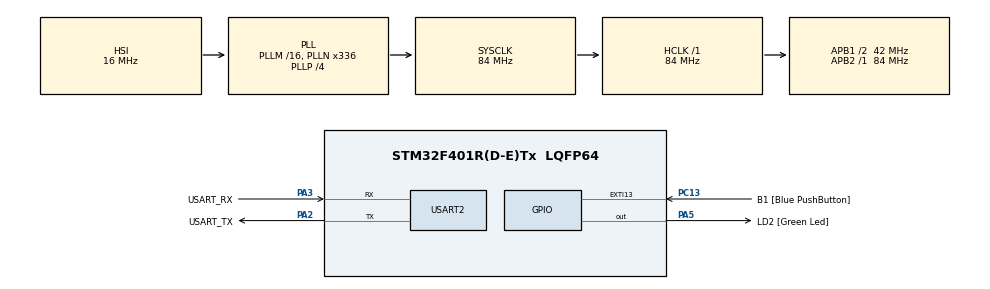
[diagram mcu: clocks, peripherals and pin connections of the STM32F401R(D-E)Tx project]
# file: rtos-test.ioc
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Dma.Request0=USART2_TX
Dma.USART2_TX.0.Direction=DMA_MEMORY_TO_PERIPH
Dma.USART2_TX.0.FIFOMode=DMA_FIFOMODE_DISABLE
Dma.USART2_TX.0.Instance=DMA1_Stream6
Dma.USART2_TX.0.MemDataAlignment=DMA_MDATAALIGN_BYTE
Dma.USART2_TX.0.MemInc=DMA_MINC_ENABLE
Dma.USART2_TX.0.Mode=DMA_NORMAL
Dma.USART2_TX.0.PeriphDataAlignment=DMA_PDATAALIGN_BYTE
Dma.USART2_TX.0.PeriphInc=DMA_PINC_DISABLE
Dma.USART2_TX.0.Priority=DMA_PRIORITY_LOW
FREERTOS.Events01=console,Dynamic,NULL
FREERTOS.Mutexes01=atomicWriteMutex,Dynamic,NULL
FREERTOS.Queues01=consoleWriteQueue,24,struct WriteRequest,0,Dynamic,NULL,NULL
FREERTOS.Tasks01=defaultTask,24,128,StartDefaultTask,Default,NULL,Dynamic,NULL,NULL
Mcu.Family=STM32F4
Mcu.Name=STM32F401R(D-E)Tx
Mcu.Package=LQFP64
NVIC.DMA1_Stream6_IRQn=true\:5\:0\:false\:false\:true\:true\:false\:true\:true
NVIC.PriorityGroup=NVIC_PRIORITYGROUP_4
NVIC.TIM1_UP_TIM10_IRQn=true\:15\:0\:false\:false\:true\:false\:false\:true\:true
NVIC.TimeBase=TIM1_UP_TIM10_IRQn
NVIC.TimeBaseIP=TIM1
NVIC.USART2_IRQn=true\:5\:0\:true\:false\:true\:true\:true\:true\:true
PA13.GPIO_Label=TMS
PA13.Signal=SYS_JTMS-SWDIO
PA14.GPIO_Label=TCK
PA14.Signal=SYS_JTCK-SWCLK
PA2.GPIO_Label=USART_TX
PA2.GPIO_Mode=GPIO_MODE_AF_PP
PA2.GPIO_PuPd=GPIO_NOPULL
PA2.GPIO_Speed=GPIO_SPEED_FREQ_LOW
PA2.Mode=Asynchronous
PA2.Signal=USART2_TX
PA3.GPIO_Label=USART_RX
PA3.GPIO_Mode=GPIO_MODE_AF_PP
PA3.GPIO_PuPd=GPIO_NOPULL
PA3.GPIO_Speed=GPIO_SPEED_FREQ_LOW
PA3.Mode=Asynchronous
PA3.Signal=USART2_RX
PA5.GPIO_Label=LD2 [Green Led]
PA5.GPIO_Mode=GPIO_MODE_OUTPUT_PP
PA5.GPIO_PuPd=GPIO_NOPULL
PA5.GPIO_Speed=GPIO_SPEED_FREQ_LOW
PA5.Signal=GPIO_Output
PB3.GPIO_Label=SWO
PB3.Signal=SYS_JTDO-SWO
PC13-ANTI_TAMP.GPIO_Label=B1 [Blue PushButton]
PC13-ANTI_TAMP.GPIO_ModeDefaultEXTI=GPIO_MODE_IT_FALLING
PC13-ANTI_TAMP.GPIO_PuPd=GPIO_NOPULL
PC13-ANTI_TAMP.Signal=GPXTI13
PC14-OSC32_IN.Mode=LSE-External-Oscillator
PC14-OSC32_IN.Signal=RCC_OSC32_IN
PC15-OSC32_OUT.Mode=LSE-External-Oscillator
PC15-OSC32_OUT.Signal=RCC_OSC32_OUT
PH0\ -\ OSC_IN.Mode=HSE-External-Oscillator
PH0\ -\ OSC_IN.Signal=RCC_OSC_IN
PH1\ -\ OSC_OUT.Mode=HSE-External-Oscillator
PH1\ -\ OSC_OUT.Signal=RCC_OSC_OUT
ProjectManager.HeapSize=0x200
ProjectManager.StackSize=0x400
ProjectManager.TargetToolchain=Makefile
RCC.AHBFreq_Value=84000000
RCC.APB1CLKDivider=RCC_HCLK_DIV2
RCC.APB1Freq_Value=42000000
RCC.APB1TimFreq_Value=84000000
RCC.APB2Freq_Value=84000000
RCC.APB2TimFreq_Value=84000000
RCC.CortexFreq_Value=84000000
RCC.HCLKFreq_Value=84000000
RCC.HSE_VALUE=8000000
RCC.HSI_VALUE=16000000
RCC.PLLN=336
RCC.PLLP=RCC_PLLP_DIV4
RCC.PLLQ=7
RCC.SYSCLKFreq_VALUE=84000000
RCC.SYSCLKSource=RCC_SYSCLKSOURCE_PLLCLK
RCC.VCOOutputFreq_Value=336000000
USART2.VirtualMode=VM_ASYNC
VP_FREERTOS_VS_CMSIS_V2.Mode=CMSIS_V2
VP_SYS_VS_tim1.Mode=TIM1
board=NUCLEO-F401RE

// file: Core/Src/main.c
/* USER CODE BEGIN Header */
/**
  ******************************************************************************
  * @file           : main.c
  * @brief          : Main program body
  ******************************************************************************
  * @attention
  *
  * Copyright (c) 2024 STMicroelectronics.
  * All rights reserved.
  *
  * This software is licensed under terms that can be found in the LICENSE file
  * in the root directory of this software component.
  * If no LICENSE file comes with this software, it is provided AS-IS.
  *
  ******************************************************************************
  */
/* USER CODE END Header */
#include "main.h"
#include "cmsis_os.h"
#include "cmsis_os2.h"
#include "dma.h"
#include "usart.h"
#include "gpio.h"
#include "string.h"

void SystemClock_Config(void);
void MX_FREERTOS_Init(void);

/* USER CODE BEGIN 0 */

#define ASSERT_PRINT(x) HAL_UART_Transmit(&huart2, (uint8_t *) (x), strlen(x), 1000);

/* USER CODE END 0 */

int main(void)
{

  /* MCU Configuration--------------------------------------------------------*/

  /* Reset of all peripherals, Initializes the Flash interface and the Systick. */
  HAL_Init();

  /* Configure the system clock */
  SystemClock_Config();

  /* Initialize all configured peripherals */
  MX_GPIO_Init();
  MX_DMA_Init();
  MX_USART2_UART_Init();
  /* USER CODE BEGIN 2 */

  const char * msg = "\n\n\n   ==== UART CONFIGURED ====\n\n\n";
  HAL_UART_Transmit(&huart2, (uint8_t *) msg, strlen(msg), 1000);

  /* USER CODE END 2 */

  /* Init scheduler */
  osKernelInitialize();

  /* Call init function for freertos objects (in cmsis_os2.c) */
  MX_FREERTOS_Init();

  /* Start scheduler */
  osKernelStart();

  /* We should never get here as control is now taken by the scheduler */

  /* Infinite loop */
  while (1)
  {

  }
}

void SystemClock_Config(void)
{
  RCC_OscInitTypeDef RCC_OscInitStruct = {0};
  RCC_ClkInitTypeDef RCC_ClkInitStruct = {0};

  /** Configure the main internal regulator output voltage
  */
  __HAL_RCC_PWR_CLK_ENABLE();
  __HAL_PWR_VOLTAGESCALING_CONFIG(PWR_REGULATOR_VOLTAGE_SCALE2);

  /** Initializes the RCC Oscillators according to the specified parameters
  * in the RCC_OscInitTypeDef structure.
  */
  RCC_OscInitStruct.OscillatorType = RCC_OSCILLATORTYPE_HSI;
  RCC_OscInitStruct.HSIState = RCC_HSI_ON;
  RCC_OscInitStruct.HSICalibrationValue = RCC_HSICALIBRATION_DEFAULT;
  RCC_OscInitStruct.PLL.PLLState = RCC_PLL_ON;
  RCC_OscInitStruct.PLL.PLLSource = RCC_PLLSOURCE_HSI;
  RCC_OscInitStruct.PLL.PLLM = 16;
  RCC_OscInitStruct.PLL.PLLN = 336;
  RCC_OscInitStruct.PLL.PLLP = RCC_PLLP_DIV4;
  RCC_OscInitStruct.PLL.PLLQ = 7;
  if (HAL_RCC_OscConfig(&RCC_OscInitStruct) != HAL_OK)
  {
    Error_Handler();
  }

  /** Initializes the CPU, AHB and APB buses clocks
  */
  RCC_ClkInitStruct.ClockType = RCC_CLOCKTYPE_HCLK|RCC_CLOCKTYPE_SYSCLK
                              |RCC_CLOCKTYPE_PCLK1|RCC_CLOCKTYPE_PCLK2;
  RCC_ClkInitStruct.SYSCLKSource = RCC_SYSCLKSOURCE_PLLCLK;
  RCC_ClkInitStruct.AHBCLKDivider = RCC_SYSCLK_DIV1;
  RCC_ClkInitStruct.APB1CLKDivider = RCC_HCLK_DIV2;
  RCC_ClkInitStruct.APB2CLKDivider = RCC_HCLK_DIV1;

  if (HAL_RCC_ClockConfig(&RCC_ClkInitStruct, FLASH_LATENCY_2) != HAL_OK)
  {
    Error_Handler();
  }
}

void HAL_TIM_PeriodElapsedCallback(TIM_HandleTypeDef *htim)
{
  if (htim->Instance == TIM1) {
    HAL_IncTick();
  }
}

void Error_Handler(void)
{
  __disable_irq();
  while (1)
  {
  }
}

#ifdef  USE_FULL_ASSERT
/**
  * @brief  Reports the name of the source file and the source line number
  *         where the assert_param error has occurred.
  * @param  file: pointer to the source file name
  * @param  line: assert_param error line source number
  * @retval None
  */
void assert_failed(uint8_t *file, uint32_t line)
{
  /* USER CODE BEGIN 6 */

  /* User can add his own implementation to report the file name and line number,
     ex: printf("Wrong parameters value: file %s on line %d\r\n", file, line) */
  osKernelLock();
  HAL_UART_Abort(&huart2);
  ASSERT_PRINT("PANIC! ASSERT FAILURE\n");
  for(;;);
  /* USER CODE END 6 */
}
#endif /* USE_FULL_ASSERT */

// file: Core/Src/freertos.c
/* USER CODE BEGIN Header */
/**
  ******************************************************************************
  * File Name          : freertos.c
  * Description        : Code for freertos applications
  ******************************************************************************
  * @attention
  *
  * Copyright (c) 2024 STMicroelectronics.
  * All rights reserved.
  *
  * This software is licensed under terms that can be found in the LICENSE file
  * in the root directory of this software component.
  * If no LICENSE file comes with this software, it is provided AS-IS.
  *
  ******************************************************************************
  */
/* USER CODE END Header */

#include "FreeRTOS.h"
#include "task.h"
#include "main.h"
#include "cmsis_os.h"

/* USER CODE BEGIN Includes */
#include "uart_io.h"
#include <stdio.h>

/* USER CODE END Includes */

/* USER CODE BEGIN Variables */
osMemoryPoolId_t consoleWritePoolHandle;
osMemoryPoolAttr_t consoleWritePool_attributes = {
  .name = "consoleWritePool"
};

/* USER CODE END Variables */
/* Definitions for defaultTask */
osThreadId_t defaultTaskHandle;
const osThreadAttr_t defaultTask_attributes = {
  .name = "defaultTask",
  .stack_size = 128 * 4,
  .priority = (osPriority_t) osPriorityNormal,
};
/* Definitions for consoleWriteQueue */
osMessageQueueId_t consoleWriteQueueHandle;
const osMessageQueueAttr_t consoleWriteQueue_attributes = {
  .name = "consoleWriteQueue"
};
/* Definitions for atomicWriteMutex */
osMutexId_t atomicWriteMutexHandle;
const osMutexAttr_t atomicWriteMutex_attributes = {
  .name = "atomicWriteMutex"
};
/* Definitions for console */
osEventFlagsId_t consoleHandle;
const osEventFlagsAttr_t console_attributes = {
  .name = "console"
};

void StartDefaultTask(void *argument);

void MX_FREERTOS_Init(void); /* (MISRA C 2004 rule 8.1) */

void MX_FREERTOS_Init(void) {
  /* Create the mutex(es) */
  /* creation of atomicWriteMutex */
  atomicWriteMutexHandle = osMutexNew(&atomicWriteMutex_attributes);

  /* Create the queue(s) */
  /* creation of consoleWriteQueue */
  consoleWriteQueueHandle = osMessageQueueNew (24, sizeof(struct WriteRequest), &consoleWriteQueue_attributes);

  /* USER CODE BEGIN RTOS_QUEUES */
  /* add queues, ... */
  consoleWritePoolHandle = osMemoryPoolNew(64, 64, &consoleWritePool_attributes);
  /* USER CODE END RTOS_QUEUES */

  /* Create the thread(s) */
  /* creation of defaultTask */
  defaultTaskHandle = osThreadNew(StartDefaultTask, NULL, &defaultTask_attributes);

  /* creation of console */
  consoleHandle = osEventFlagsNew(&console_attributes);

  /* USER CODE BEGIN RTOS_EVENTS */
  osEventFlagsSet(consoleHandle, 1);
  /* add events, ... */
  /* USER CODE END RTOS_EVENTS */

}

void StartDefaultTask(void *argument)
{
  /* USER CODE BEGIN StartDefaultTask */
  puts("Hello, world\n");
  puts("This is a longer write, over the 64-byte chunk that will get passed to the write handler. It should be two chunks or longer, so I'm adding a lot.\n");
  /* Infinite loop */
  for(;;)
  {
    osDelay(1);
  }
  /* USER CODE END StartDefaultTask */
}
